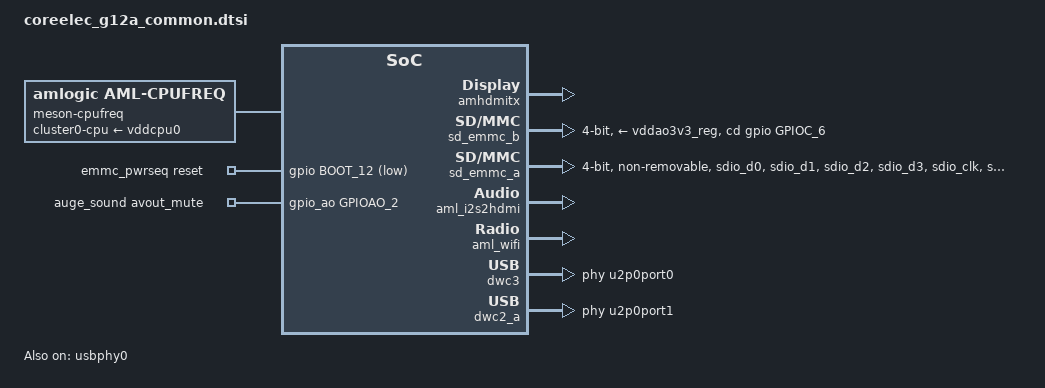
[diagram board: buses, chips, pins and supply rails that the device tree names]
#include "coreelec_common.dtsi"

/ {
	/delete-node/ optee;

	/delete-node/ cpufreq-meson;

	meson-cpufreq {
		compatible = "amlogic, aml-cpufreq";
		status = "okay";

		cluster0-cpu-supply = <&vddcpu0>;

		cluster0 {
			clocks = <&clkc CLKID_CPU_CLK>;
			clock-names = "cpuclk";
			voltage-tolerance = <0>;
			transition_delay_us = <10000>;
			cluster_cores = <0 1 2 3>;
		};
	};

	amhdmitx: amhdmitx{
		status = "okay";
		hdmitx-gpios-hpd = <&gpio GPIOH_2 0>;
		hdmitx-gpios-scl = <&gpio GPIOH_1 0>;
		hdmitx-gpios-sda = <&gpio GPIOH_0 0>;
		vend_data: vend_data{ /* Should modified by Customer */
			product_desc = "G12A"; /* Max Chars: 16 */
		};
	};

	secmon {
		clear_range = <0x05100000 0x02a00000>;
	};

	gpioleds {
		/delete-node/ net_red;
		/delete-node/ net_green;
		/delete-node/ remote_led;
	};

	meson-ir {
		reg = <0x0 0xff808040 0x00 0x44>, /*Multi-format IR controller*/
			<0x0 0xff808000 0x00 0x20>; /*Legacy IR controller*/
		interrupts = <GIC_SPI 196 IRQ_TYPE_EDGE_RISING>;
	};

	meson-remote {
		reg = <0x0 0xff808040 0x00 0x44>, /*Multi-format IR controller*/
			<0x0 0xff808000 0x00 0x20>; /*Legacy IR controller*/
		interrupts = <GIC_SPI 196 IRQ_TYPE_EDGE_RISING>;
	};

	gpu:bifrost {
		compatible = "arm,mali-bifrost";
	};

	emmc_pwrseq: emmc-pwrseq {
		compatible = "mmc-pwrseq-emmc";
		reset-gpios = <&gpio BOOT_12 GPIO_ACTIVE_LOW>;
	};

	/delete-node/ auge_sound;
	auge_sound {
		compatible = "amlogic, auge-sound-card";
		aml-audio-card,name = "AML-AUGESOUND";

		/*avout mute gpio*/
		avout_mute-gpios = <&gpio_ao GPIOAO_2 GPIO_ACTIVE_HIGH>;

		aml-audio-card,dai-link@0 {
			mclk-fs = <128>;
			continuous-clock;
			cpu {
				system-clock-frequency = <6144000>;
				sound-dai = <&aml_spdif_b>;
			};
			codec {
				sound-dai = <&dummy_codec>;
			};
		};

		aml-audio-card,dai-link@1 {
			format = "i2s";
			mclk-fs = <256>;
			bitclock-master = <&aml_tdmb>;
			frame-master = <&aml_tdmb>;
			continuous-clock;
			cpu {
				dai-tdm-slot-tx-mask = <1 1>;
				dai-tdm-slot-rx-mask = <1 1>;
				dai-tdm-slot-num = <2>;
				dai-tdm-slot-width = <32>;
				system-clock-frequency = <12288000>;
				sound-dai = <&aml_tdmb>;
			};
			codec {
				sound-dai = <&amlogic_codec>;
			};
		};

		aml-audio-card,dai-link@2 {
			mclk-fs = <128>;
			continuous-clock;
			cpu {
				system-clock-frequency = <6144000>;
				sound-dai = <&aml_spdif>;
			};
			codec {
				sound-dai = <&dummy_codec>;
			};
		};

		aml-audio-card,dai-link@3 {
			format = "i2s";
			mclk-fs = <256>;
			bitclock-master = <&aml_i2s2hdmi>;
			frame-master = <&aml_i2s2hdmi>;
			continuous-clock;
			cpu {
				sound-dai = <&aml_i2s2hdmi>;
				dai-tdm-slot-tx-mask = <1 1>;
				dai-tdm-slot-rx-mask = <1 1>;
				dai-tdm-slot-num = <2>;
				dai-tdm-slot-width = <32>;
				system-clock-frequency = <12288000>;
			};
			codec {
				sound-dai = <&dummy_codec>;
			};
		};
	};
};

&audiobus {
	/delete-node/ tdmc;
	/delete-node/ tdm@2;

	aml_i2s2hdmi: i2s2hdmi {
		compatible = "amlogic, g12a-snd-tdmc";
		clocks = <&clkaudio CLKID_AUDIO_MCLK_C
				 &clkc CLKID_MPLL2>;
		clock-names = "mclk", "clk_srcpll";
	};

	aml_tdmb: tdmb {
		/delete-property/ start_clk_enable;
		/delete-property/ clk_tuning_enable;
	};
};

&sd_emmc_c {
	compatible = "amlogic,meson-axg-mmc";
	mmc-pwrseq = <&emmc_pwrseq>;
};

&sd_emmc_b2 {
	status = "disabled";
};

/ {
	/* the time-sharing meson-g12a-mmc driver is gone, use one controller per function */
	sd_emmc_b: sd@ffe05000 {
		status = "okay";
		compatible = "amlogic,meson-axg-mmc";
		reg = <0x0 0xffe05000 0x0 0x800>,
			<0x0 0xffe05000 0x0 0x800>,
			<0x0 0xffe05000 0x0 0x800>;
		interrupts = <GIC_SPI 190 IRQ_TYPE_EDGE_RISING>;
		clocks = <&clkc CLKID_SD_EMMC_B>,
			<&clkc CLKID_SD_EMMC_B_CLK0_SEL>,
			<&clkc CLKID_SD_EMMC_B_CLK0>,
			<&xtal>,
			<&clkc CLKID_FCLK_DIV2>,
			<&clkc CLKID_FCLK_DIV2>;
		clock-names = "core", "mux0", "mux1", "clkin0", "clkin1";
		card_type = <5>;
		mmc_debug_flag;
		pinctrl-0 = <&sdcard_pins>;
		pinctrl-1 = <&sdcard_clk_gate_pins>;
		pinctrl-2 = <&sd_1bit_pins>;
		pinctrl-names = "sd_default", "clk-gate", "sd_1bit_pins";
		bus-width = <4>;
		cap-sd-highspeed;
		cap-mmc-highspeed;
		max-frequency = <50000000>;
		disable-wp;
		cd-gpios = <&gpio GPIOC_6 GPIO_ACTIVE_HIGH>;
		vmmc-supply = <&vddao3v3_reg>;
	};

	sd_emmc_a: sdio@ffe03000 {
		status = "okay";
		compatible = "amlogic,meson-axg-mmc";
		reg = <0x0 0xffe03000 0x0 0x800>,
			<0x0 0xffe03000 0x0 0x800>,
			<0x0 0xffe03000 0x0 0x800>;
		interrupts = <GIC_SPI 189 IRQ_TYPE_LEVEL_HIGH>;
		clocks = <&clkc CLKID_SD_EMMC_A>,
			<&clkc CLKID_SD_EMMC_A_CLK0_SEL>,
			<&clkc CLKID_SD_EMMC_A_CLK0>,
			<&xtal>,
			<&clkc CLKID_FCLK_DIV2>,
			<&clkc CLKID_FCLK_DIV2>;
		clock-names = "core", "mux0", "mux1", "clkin0", "clkin1";
		card_type = <3>;
		ocr_avail = <0x200080>;
		mmc_debug_flag;
		pinctrl-0 = <&sdio_a_pins>;
		pinctrl-1 = <&sdio_clk_gate_pins>;
		pinctrl-names = "default", "clk-gate";
		bus-width = <4>;
		cap-sd-highspeed;
		max-frequency = <200000000>;
		non-removable;
		disable-wp;
		cap-sdio-irq;
		keep-power-in-suspend;
		no-mmc;
		no-sd;
		amlogic,dram-access-quirk;
	};
};

&pinctrl_periphs {
	sdio_a_pins: sdio_a_pins {
		mux {
			groups = "sdio_d0",
				"sdio_d1",
				"sdio_d2",
				"sdio_d3",
				"sdio_clk",
				"sdio_cmd";
			function = "sdio";
			input-enable;
			bias-pull-up;
			drive-strength-microamp = <4000>;
		};
	};
};

&aml_wifi {
	status = "okay";
	wifi_static_buf = <1>;
	/delete-property/ pwm_config;

	pwm_channel1_conf {
		pwms = <&pwm_ef MESON_PWM_0 30541 0>;
		duty-cycle = <15270>;
		times = <10>;
	};
	pwm_channel2_conf {
		pwms = <&pwm_ef MESON_PWM_2 30500 0>;
		duty-cycle = <15250>;
		times = <12>;
	};
};

/ {
	/* the legacy usb2/usb3 v2 phy drivers are no longer registered */
	usbphy0: usbphy0@ffe09000 {
		compatible = "amlogic,uphy-sm1";
		#address-cells = <1>;
		#size-cells = <1>;
		status = "okay";

		u2p0port0: u2p@0 {
			#phy-cells = <0>;
			port-speed = <0x0>;
			reg = <0xffe09000 0x20
					0xffd01008 0x100
					0x0 0x0
					0xff636000 0x60>;
			reset-level = <0x84>;
			phy-reset-level-bits = <16>;
			usb-reset-bit = <2>;
			pll-settings = <0x09400414
							0x927E0000
							0xac5f49e5
							0xfe18
							0x8000fff
							0x78000
							0xe0004
							0xe000c>;
			version = <2>;
		};

		u2p0port1: u2p@20 {
			#phy-cells = <0>;
			port-speed = <0x0>;
			reg = <0xffe09020 0x20
					0xffd01008 0x100
					0x0 0x0
					0xff63a000 0x60
					0xffe09080 0x20>;
			reset-level = <0x84>;
			phy-reset-level-bits = <17>;
			usb-reset-bit = <2>;
			pll-settings = <0x09400414
							0x927E0000
							0xac5f49e5
							0xfe18
							0x8000fff
							0x78000
							0xe0004
							0xe000c>;
			version = <2>;
			phy-otg;
			otg-type = <0>;
			iddig-type = <1>;
			controller-type = <3>;
			interrupts = <GIC_SPI 16 IRQ_TYPE_LEVEL_HIGH>;
		};

		u3p0port0: u3p@80 {
			#phy-cells = <0>;
			port-speed = <0x3>;
			reg = <0xffe09080 0x20
					0xff646000 0x2000>;
			clocks = <&clkc CLKID_PCIE_PLL>;
			clock-names = "pcie_refpll";
		};
	};
};

&usb2_phy_v2 {
	status = "disabled";
};

&usb3_phy_v2 {
	status = "disabled";
};

&dwc3 {
	/delete-property/ usb-phy;
	phys = <&u2p0port0>, <&u2p0port1>, <&u3p0port0>;
	phy-names = "usb2-0", "usb2-1", "usb3-phy";
};

&dwc2_a {
	controller-type = <3>;
	use-gphy;
	phys = <&u2p0port1>;
};
